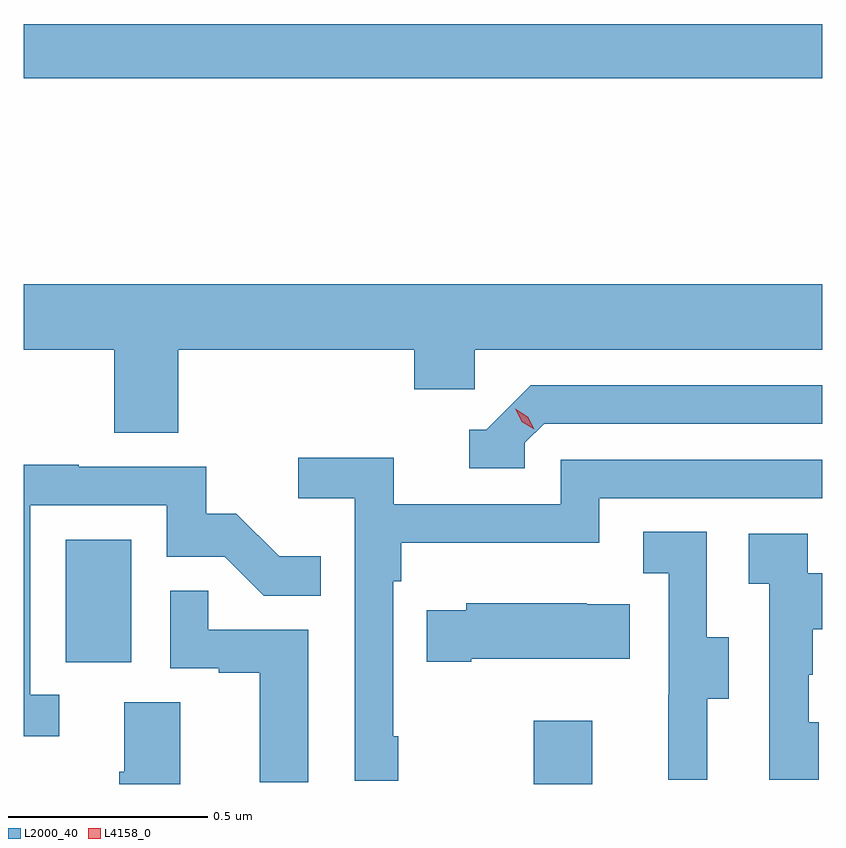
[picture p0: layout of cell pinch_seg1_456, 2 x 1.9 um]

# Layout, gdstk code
import gdstk
lib = gdstk.Library(unit=1e-6, precision=1e-09)
def R(c, l, rs):  # rectangles x0, y0, x1, y1
    for r in rs: c.add(gdstk.rectangle(r[:2], r[2:], *l))
def P(c, l, *ps):  # polygons
    for p in ps: c.add(gdstk.Polygon(p, *l))
L2000_40 = (2000, 40)
L4158_0 = (4158, 0)

pinch_seg1_456 = lib.new_cell('pinch_seg1_456')
R(pinch_seg1_456, L2000_40, [(1002.766,518.677,1002.913,518.836), (1001.594,518.982,1001.758,519.289), (1001.489,520.444,1003.489,520.58)])
P(pinch_seg1_456, L2000_40, [(1001.876,519.764),(1002.467,519.764),(1002.467,519.666),(1002.618,519.666),(1002.618,519.764),(1003.489,519.764),(1003.489,519.928),(1001.489,519.928),(1001.489,519.764),(1001.716,519.764),(1001.716,519.556),(1001.876,519.556)],
  [(1002.744,519.531),(1002.792,519.579),(1003.489,519.579),(1003.489,519.675),(1002.759,519.675),(1002.648,519.564),(1002.605,519.564),(1002.605,519.468),(1002.744,519.468)],
  [(1002.427,518.797),(1002.414,518.797),(1002.414,519.185),(1002.434,519.185),(1002.434,519.281),(1002.93,519.281),(1002.93,519.393),(1003.489,519.393),(1003.489,519.489),(1002.834,519.489),(1002.834,519.378),(1002.416,519.378),(1002.416,519.494),(1002.177,519.494),(1002.177,519.392),(1002.318,519.392),(1002.318,518.685),(1002.427,518.685)],
  [(1001.578,518.901),(1001.505,518.901),(1001.505,519.375),(1001.847,519.375),(1001.847,519.246),(1001.992,519.246),(1002.09,519.148),(1002.233,519.148),(1002.233,519.247),(1002.129,519.247),(1002.022,519.354),(1001.946,519.354),(1001.946,519.471),(1001.627,519.471),(1001.627,519.476),(1001.489,519.476),(1001.489,518.796),(1001.578,518.796)],
  [(1003.201,518.89),(1003.255,518.89),(1003.255,519.045),(1003.2,519.045),(1003.2,519.308),(1003.041,519.308),(1003.041,519.205),(1003.104,519.205),(1003.104,518.901),(1003.103,518.901),(1003.103,518.688),(1003.201,518.688)],
  [(1003.48,518.832),(1003.455,518.832),(1003.455,518.951),(1003.465,518.951),(1003.465,519.065),(1003.489,519.065),(1003.489,519.205),(1003.452,519.205),(1003.452,519.303),(1003.305,519.303),(1003.305,519.179),(1003.356,519.179),(1003.356,518.688),(1003.48,518.688)],
  [(1002.202,519.063),(1001.951,519.063),(1001.951,519.161),(1001.856,519.161),(1001.856,518.967),(1001.977,518.967),(1001.977,518.955),(1002.08,518.955),(1002.08,518.681),(1002.202,518.681)],
  [(1002.61,518.99),(1003.007,518.99),(1003.007,519.127),(1002.899,519.127),(1002.899,519.13),(1002.597,519.13),(1002.597,519.112),(1002.499,519.112),(1002.499,518.983),(1002.61,518.983)],
  [(1001.881,518.882),(1001.741,518.882),(1001.741,518.708),(1001.729,518.708),(1001.729,518.677),(1001.881,518.677)])
P(pinch_seg1_456, L4158_0, [(1002.767,519.565),(1002.736,519.584),(1002.72,519.616),(1002.72,519.616),(1002.72,519.616),(1002.751,519.597),(1002.768,519.565),(1002.768,519.565)])

lib.write_gds('pinch_seg1_456.gds')
